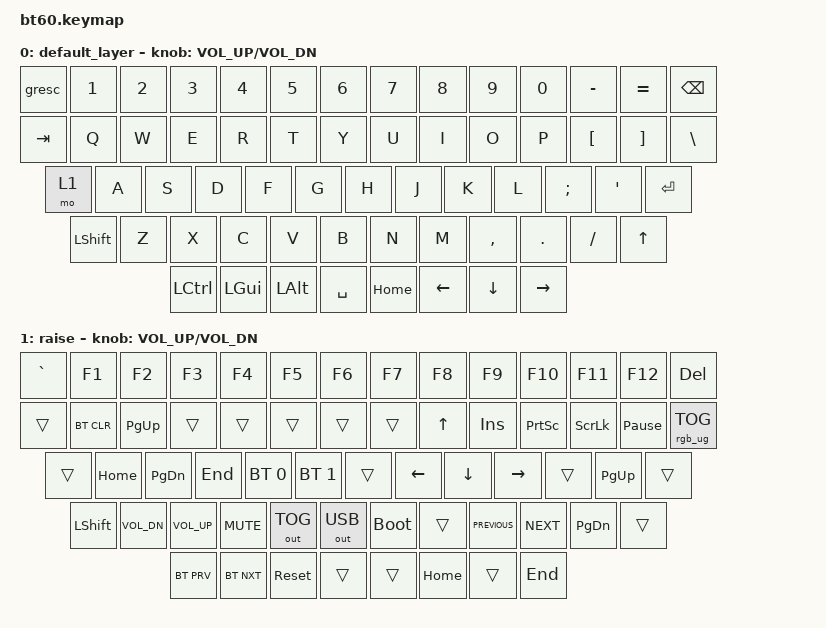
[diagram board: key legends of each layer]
#include <behaviors.dtsi>
#include <dt-bindings/zmk/keys.h>
#include <dt-bindings/zmk/bt.h>
#include <dt-bindings/zmk/rgb.h>
#include <dt-bindings/zmk/outputs.h> // Bluetooth
#include <dt-bindings/zmk/ext_power.h> // External power

/ {
	keymap {
		compatible = "zmk,keymap";

		default_layer {
				// ------------------------------------------------------------------------------------------
				// |  GRESC  |  1  |  2  |  3  |  4  |  5  |  6  |  7  |  8  |  9  |  0  |  -  |  =  |   BKSP
				// | TAB  |  Q  |  W  |  E  |  R  |  T  |  Y  |  U  |  I  |  O  |  P  |  [  |  ]  |   |
				// | CAPS  |  A  |  S  |  D  |  F  |  G  |  H  |  J  |  K  |  L  |  ;  |  '  |     ENTER
				// |  SHIFT    |  Z  |  X  |  C  |  V  |  B  |  N  |  M  |  ,  |  .  | /   |      SHIFT
				// |  CTL  |  WIN  |  ALT  |            SPACE               | ALT | 1    |  MENU    |  CTRL/
				// ------------------------------------------------------------------------------------------
			bindings = <

				&gresc &kp N1 &kp N2 &kp N3 &kp N4 &kp N5 &kp N6 &kp N7 &kp  N8   &kp  N9 &kp  N0  &kp MINUS &kp EQUAL &kp BSPC
				&kp TAB  &kp Q  &kp W  &kp E  &kp R  &kp T  &kp Y  &kp U  &kp  I    &kp  O  &kp  P   &kp LBKT &kp RBKT   &kp BSLH
				&mo 1  &kp A  &kp S  &kp D  &kp F  &kp G  &kp H  &kp J  &kp  K    &kp  L  &kp SEMI &kp SQT            &kp RET
				&kp LSHFT  &kp Z  &kp X  &kp C  &kp V  &kp B  &kp N  &kp M  &kp COMMA &kp DOT &kp FSLH                   &kp UP
				&kp LCTRL &kp LGUI &kp LALT            &kp SPACE                          &kp HOME  &kp LEFT &kp DOWN   &kp RIGHT
			>;
			sensor-bindings = <&inc_dec_kp C_VOL_UP C_VOL_DN>;
		};
		raise {
				// ------------------------------------------------------------------------------------------
				// |  GRAVE   |  F1 	|  F2  |  F3  |  F4  |  F5  |  F6  |  F7  |  F8  | F9  |  F10  | F11 | F12 | DEL
				// |  	-     | BT_CLR  |   UP   |  -  |  -  |  -  |  -  |  -  |  UP  |  INS  |  PSCRN  |  SLCK  |  PAUSE_BREAK  | RGB_TOG  |
				// |    -  	  |  LEFT   |  DOWN  |  RIGHT  |  BT_SEL 0  |  BT_SEL 1  |  -  |  LEFT |  DOWN  |  RIGHT |  -  |  PG_UP  | -
				// |  &kp LSHFT  |  C_VOL_DN |  C_VOL_UP  |  C_MUTE  |  OUT_TOG  |  OUT_USB  |  &bootloader  |  -  |  C_PREVIOUS  |  C_NEXT  | PG_DN   |   -
				// |  BT_PRV  |  BT_NXT  |  RESET  |            -               |  -   |  HOME   |     - |  END
				// ------------------------------------------------------------------------------------------
				
			bindings = <
				&kp GRAVE &kp F1 &kp F2 &kp F3 &kp F4 &kp F5 &kp F6 &kp F7 &kp F8 &kp F9 &kp F10 &kp F11 &kp F12 &kp DEL
				&trans &bt BT_CLR  &kp PG_UP &trans &trans &trans &trans &trans &kp UP &kp INS &kp PSCRN &kp SLCK &kp PAUSE_BREAK &rgb_ug RGB_TOG
				&trans  &kp HOME &kp PG_DN &kp END &bt BT_SEL 0 &bt BT_SEL 1 &trans &kp LEFT &kp DOWN &kp RIGHT &trans  &kp PG_UP   &trans
				&kp LSHFT &kp C_VOL_DN &kp C_VOL_UP &kp C_MUTE &out OUT_TOG &out OUT_USB  &bootloader &trans &kp C_PREVIOUS  &kp C_NEXT &kp PG_DN  &trans
				&bt BT_PRV &bt BT_NXT  &sys_reset              &trans                            &trans &kp HOME  &trans &kp END 
			>;
			sensor-bindings = <&inc_dec_kp C_VOL_UP C_VOL_DN>;
		};
	};
};
